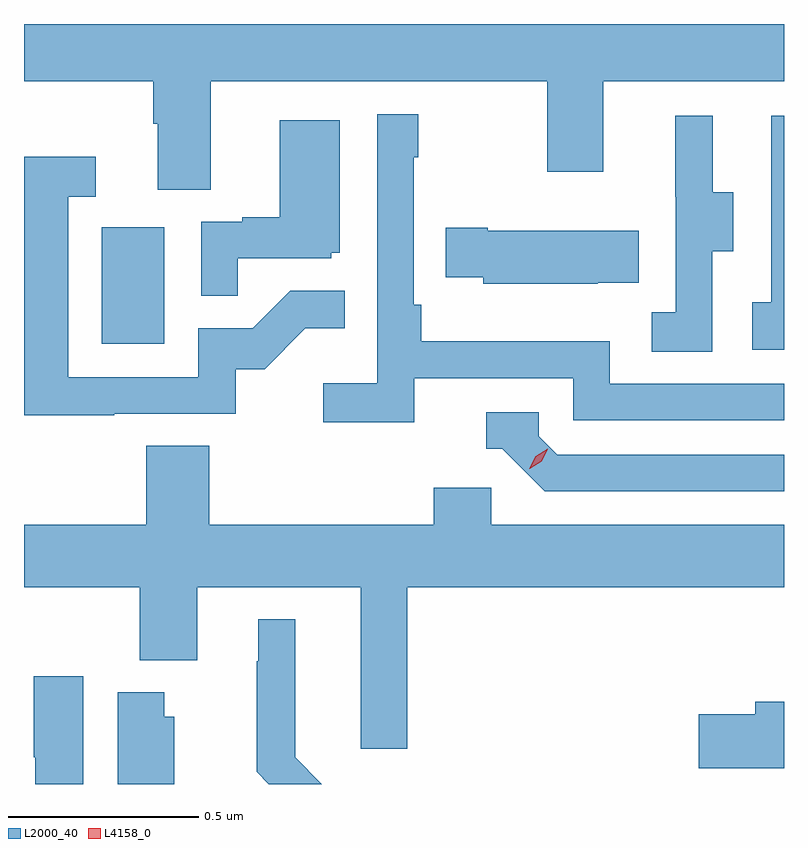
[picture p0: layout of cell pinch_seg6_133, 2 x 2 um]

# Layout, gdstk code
import gdstk
lib = gdstk.Library(unit=1e-6, precision=1e-09)
def R(c, l, rs):  # rectangles x0, y0, x1, y1
    for r in rs: c.add(gdstk.rectangle(r[:2], r[2:], *l))
def P(c, l, *ps):  # polygons
    for p in ps: c.add(gdstk.Polygon(p, *l))
L2000_40 = (2000, 40)
L4158_0 = (4158, 0)

pinch_seg6_133 = lib.new_cell('pinch_seg6_133')
R(pinch_seg6_133, L2000_40, [(974.066,930.66,974.23,930.967)])
P(pinch_seg6_133, L2000_40, [(975.238,931.113),(975.385,931.113),(975.385,931.352),(975.861,931.352),(975.861,931.502),(973.861,931.502),(973.861,931.352),(974.201,931.352),(974.201,931.24),(974.213,931.24),(974.213,931.066),(974.353,931.066),(974.353,931.352),(975.238,931.352)],
  [(974.888,930.57),(975.306,930.57),(975.306,930.459),(975.861,930.459),(975.861,930.555),(975.402,930.555),(975.402,930.667),(974.906,930.667),(974.906,930.763),(974.886,930.763),(974.886,931.151),(974.899,931.151),(974.899,931.264),(974.79,931.264),(974.79,930.556),(974.649,930.556),(974.649,930.454),(974.888,930.454)],
  [(975.672,930.904),(975.727,930.904),(975.727,931.059),(975.673,931.059),(975.673,931.261),(975.575,931.261),(975.575,931.047),(975.576,931.047),(975.576,930.743),(975.513,930.743),(975.513,930.64),(975.672,930.64)],
  [(975.861,931.261),(975.828,931.261),(975.828,930.77),(975.777,930.77),(975.777,930.645),(975.861,930.645)],
  [(974.423,930.885),(974.67,930.885),(974.67,930.9),(974.692,930.9),(974.692,931.249),(974.534,931.249),(974.534,930.994),(974.435,930.994),(974.435,930.981),(974.328,930.981),(974.328,930.787),(974.423,930.787)],
  [(974.099,930.477),(974.418,930.477),(974.418,930.594),(974.494,930.594),(974.601,930.701),(974.705,930.701),(974.705,930.8),(974.561,930.8),(974.463,930.702),(974.319,930.702),(974.319,930.573),(973.977,930.573),(973.977,931.047),(974.05,931.047),(974.05,931.153),(973.861,931.153),(973.861,930.472),(974.099,930.472)],
  [(975.371,930.821),(975.479,930.821),(975.479,930.958),(975.082,930.958),(975.082,930.966),(974.971,930.966),(974.971,930.836),(975.069,930.836),(975.069,930.818),(975.371,930.818)],
  [(975.861,930.369),(975.264,930.369),(975.216,930.417),(975.216,930.48),(975.077,930.48),(975.077,930.384),(975.12,930.384),(975.231,930.273),(975.861,930.273)],
  [(974.87,930.02),(975.861,930.02),(975.861,930.184),(975.09,930.184),(975.09,930.282),(974.939,930.282),(974.939,930.184),(974.348,930.184),(974.348,930.392),(974.183,930.392),(974.183,930.184),(973.861,930.184),(973.861,930.02),(974.165,930.02),(974.165,929.828),(974.317,929.828),(974.317,930.02),(974.747,930.02),(974.747,929.595),(974.87,929.595)],
  [(974.575,929.572),(974.575,929.935),(974.477,929.935),(974.477,929.825),(974.473,929.825),(974.473,929.534),(974.505,929.502),(974.644,929.502)],
  [(974.017,929.785),(973.886,929.785),(973.886,929.572),(973.891,929.572),(973.891,929.502),(974.017,929.502)],
  [(974.257,929.679),(974.23,929.679),(974.23,929.743),(974.108,929.743),(974.108,929.502),(974.257,929.502)],
  [(975.861,929.719),(975.785,929.719),(975.785,929.685),(975.636,929.685),(975.636,929.543),(975.861,929.543)])
P(pinch_seg6_133, L4158_0, [(975.191,930.332),(975.191,930.332),(975.208,930.365),(975.239,930.384),(975.239,930.384),(975.239,930.384),(975.223,930.351),(975.192,930.332)])

lib.write_gds('pinch_seg6_133.gds')
